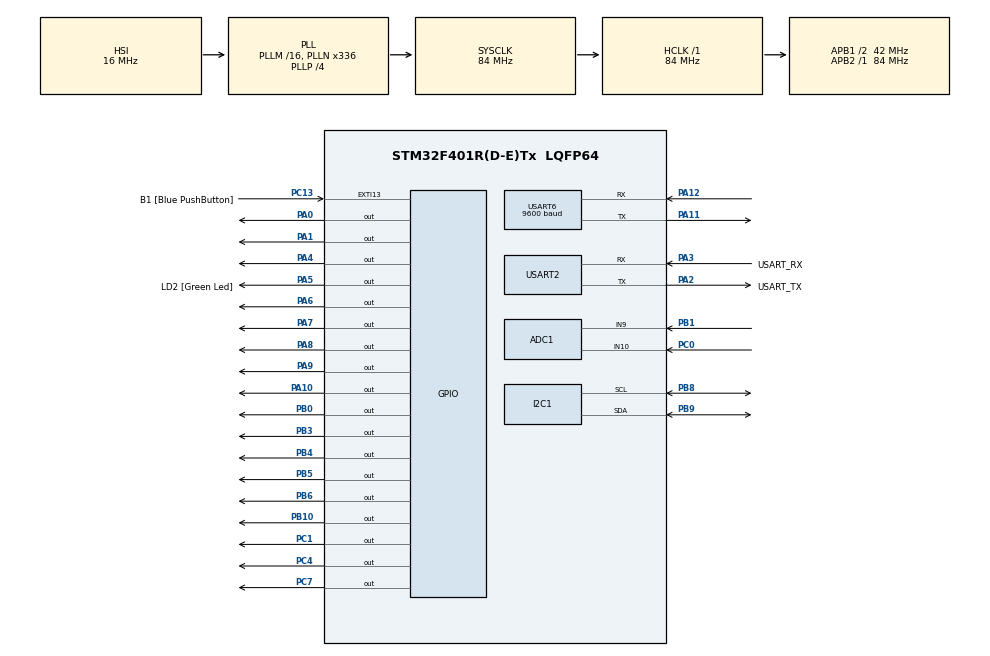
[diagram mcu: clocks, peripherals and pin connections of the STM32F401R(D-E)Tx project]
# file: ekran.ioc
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ADC1.Channel-0\#ChannelRegularConversion=ADC_CHANNEL_9
ADC1.Channel-1\#ChannelRegularConversion=ADC_CHANNEL_10
ADC1.ContinuousConvMode=DISABLE
ADC1.DMAContinuousRequests=ENABLE
ADC1.NbrOfConversion=2
ADC1.NbrOfConversionFlag=1
ADC1.Rank-0\#ChannelRegularConversion=1
ADC1.Rank-1\#ChannelRegularConversion=2
ADC1.SamplingTime-0\#ChannelRegularConversion=ADC_SAMPLETIME_3CYCLES
ADC1.SamplingTime-1\#ChannelRegularConversion=ADC_SAMPLETIME_3CYCLES
ADC1.master=1
Dma.ADC1.0.Direction=DMA_PERIPH_TO_MEMORY
Dma.ADC1.0.FIFOMode=DMA_FIFOMODE_DISABLE
Dma.ADC1.0.Instance=DMA2_Stream0
Dma.ADC1.0.MemDataAlignment=DMA_MDATAALIGN_HALFWORD
Dma.ADC1.0.MemInc=DMA_MINC_ENABLE
Dma.ADC1.0.Mode=DMA_CIRCULAR
Dma.ADC1.0.PeriphDataAlignment=DMA_PDATAALIGN_HALFWORD
Dma.ADC1.0.PeriphInc=DMA_PINC_DISABLE
Dma.ADC1.0.Priority=DMA_PRIORITY_LOW
Dma.Request0=ADC1
Mcu.Family=STM32F4
Mcu.Name=STM32F401R(D-E)Tx
Mcu.Package=LQFP64
NVIC.ADC_IRQn=true\:0\:0\:false\:false\:true\:true\:true\:true
NVIC.DMA2_Stream0_IRQn=true\:0\:0\:false\:false\:true\:false\:true\:true
NVIC.PriorityGroup=NVIC_PRIORITYGROUP_0
PA0-WKUP.Signal=GPIO_Output
PA1.Signal=GPIO_Output
PA10.Signal=GPIO_Output
PA11.Mode=Asynchronous
PA11.Signal=USART6_TX
PA12.Mode=Asynchronous
PA12.Signal=USART6_RX
PA13.GPIO_Label=TMS
PA13.Mode=Serial_Wire
PA13.Signal=SYS_JTMS-SWDIO
PA14.GPIO_Label=TCK
PA14.Mode=Serial_Wire
PA14.Signal=SYS_JTCK-SWCLK
PA2.GPIO_Label=USART_TX
PA2.GPIO_Mode=GPIO_MODE_AF_PP
PA2.GPIO_PuPd=GPIO_NOPULL
PA2.GPIO_Speed=GPIO_SPEED_FREQ_LOW
PA2.Mode=Asynchronous
PA2.Signal=USART2_TX
PA3.GPIO_Label=USART_RX
PA3.GPIO_Mode=GPIO_MODE_AF_PP
PA3.GPIO_PuPd=GPIO_NOPULL
PA3.GPIO_Speed=GPIO_SPEED_FREQ_LOW
PA3.Mode=Asynchronous
PA3.Signal=USART2_RX
PA4.Signal=GPIO_Output
PA5.GPIO_Label=LD2 [Green Led]
PA5.GPIO_Mode=GPIO_MODE_OUTPUT_PP
PA5.GPIO_PuPd=GPIO_NOPULL
PA5.GPIO_Speed=GPIO_SPEED_FREQ_LOW
PA5.Signal=GPIO_Output
PA6.Signal=GPIO_Output
PA7.Signal=GPIO_Output
PA8.Signal=GPIO_Output
PA9.Signal=GPIO_Output
PB0.Signal=GPIO_Output
PB1.Signal=ADCx_IN9
PB10.Signal=GPIO_Output
PB3.Signal=GPIO_Output
PB4.Signal=GPIO_Output
PB5.Signal=GPIO_Output
PB6.Signal=GPIO_Output
PB8.Mode=I2C
PB8.Signal=I2C1_SCL
PB9.Mode=I2C
PB9.Signal=I2C1_SDA
PC0.Signal=ADCx_IN10
PC1.Signal=GPIO_Output
PC13-ANTI_TAMP.GPIO_Label=B1 [Blue PushButton]
PC13-ANTI_TAMP.GPIO_ModeDefaultEXTI=GPIO_MODE_IT_FALLING
PC13-ANTI_TAMP.GPIO_PuPd=GPIO_NOPULL
PC13-ANTI_TAMP.Signal=GPXTI13
PC14-OSC32_IN.Mode=LSE-External-Oscillator
PC14-OSC32_IN.Signal=RCC_OSC32_IN
PC15-OSC32_OUT.Mode=LSE-External-Oscillator
PC15-OSC32_OUT.Signal=RCC_OSC32_OUT
PC4.Signal=GPIO_Output
PC7.Signal=GPIO_Output
PH0\ -\ OSC_IN.Mode=HSE-External-Clock-Source
PH0\ -\ OSC_IN.Signal=RCC_OSC_IN
PH1\ -\ OSC_OUT.Mode=HSE-External-Clock-Source
PH1\ -\ OSC_OUT.Signal=RCC_OSC_OUT
ProjectManager.HeapSize=0x200
ProjectManager.StackSize=0x400
ProjectManager.TargetToolchain=STM32CubeIDE
RCC.48MHZClocksFreq_Value=48000000
RCC.AHBFreq_Value=84000000
RCC.APB1CLKDivider=RCC_HCLK_DIV2
RCC.APB1Freq_Value=42000000
RCC.APB1TimFreq_Value=84000000
RCC.APB2Freq_Value=84000000
RCC.APB2TimFreq_Value=84000000
RCC.CortexFreq_Value=84000000
RCC.HCLKFreq_Value=84000000
RCC.HSE_VALUE=8000000
RCC.HSI_VALUE=16000000
RCC.PLLN=336
RCC.PLLP=RCC_PLLP_DIV4
RCC.PLLQ=7
RCC.SYSCLKFreq_VALUE=84000000
RCC.SYSCLKSource=RCC_SYSCLKSOURCE_PLLCLK
RCC.VCOOutputFreq_Value=336000000
SH.ADCx_IN10.0=ADC1_IN10,IN10
SH.ADCx_IN9.0=ADC1_IN9,IN9
USART2.VirtualMode=VM_ASYNC
USART6.BaudRate=9600
USART6.VirtualMode=VM_ASYNC
board=NUCLEO-F401RE

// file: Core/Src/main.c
/* USER CODE BEGIN Header */
/**
 ******************************************************************************
 * @file           : main.c
 * @brief          : Main program body
 ******************************************************************************
 * @attention
 *
 * Copyright (c) 2024 STMicroelectronics.
 * All rights reserved.
 *
 * This software is licensed under terms that can be found in the LICENSE file
 * in the root directory of this software component.
 * If no LICENSE file comes with this software, it is provided AS-IS.
 *
 ******************************************************************************
 */
/* USER CODE END Header */
#include "main.h"

/* USER CODE BEGIN Includes */
#include "stm32_adafruit_lcd.h"
#include "structPackets.h"
#include <stdlib.h>
#include "stdio.h"
#include <math.h>
#include "bme280/bme280.h"
/* USER CODE END Includes */

/* USER CODE BEGIN PD */
#define PI 3.14159265
#define CENTER_X 200
#define CENTER_Y 150
#define LENGTH 80
uint16_t oldx, oldy;
/* USER CODE END PD */

ADC_HandleTypeDef hadc1;
DMA_HandleTypeDef hdma_adc1;

I2C_HandleTypeDef hi2c1;

UART_HandleTypeDef huart2;
UART_HandleTypeDef huart6;

void SystemClock_Config(void);
static void MX_GPIO_Init(void);
static void MX_DMA_Init(void);
static void MX_USART2_UART_Init(void);
static void MX_ADC1_Init(void);
static void MX_I2C1_Init(void);
static void MX_USART6_UART_Init(void);
/* USER CODE BEGIN PFP */
float mapValuef(float x, float in_min, float in_max, float out_min,
                float out_max);

uint8_t lcdText[30];
uint16_t adcBuffer[2];
uint8_t readbuffer[10] = {0};
uint8_t *CurrentPacketPointer;
accelPKT accelarationPacket;
movementPKT movement;
/* USER CODE END PFP */

int main(void)
{

  /* MCU Configuration--------------------------------------------------------*/

  /* Reset of all peripherals, Initializes the Flash interface and the Systick. */
  HAL_Init();

  /* Configure the system clock */
  SystemClock_Config();

  /* Initialize all configured peripherals */
  MX_GPIO_Init();
  MX_DMA_Init();
  MX_USART2_UART_Init();
  MX_ADC1_Init();
  MX_I2C1_Init();
  MX_USART6_UART_Init();
  /* USER CODE BEGIN 2 */
  HAL_ADC_Start_DMA(&hadc1, (uint32_t *)adcBuffer, 2);
  BSP_LCD_Init();

  BSP_LCD_Clear(LCD_COLOR_BLACK);

  // BSP_LCD_SetTextColor(LCD_COLOR_BLUE);
  // BSP_LCD_FillRect(0, 0, 100, 100);
  // BSP_LCD_SetTextColor(LCD_COLOR_MAGENTA);
  // BSP_LCD_FillRect(20, 20, 100, 100);
  BSP_LCD_SetTextColor(LCD_COLOR_RED);
  BSP_LCD_SetBackColor(LCD_COLOR(63, 190, 152));
  BSP_LCD_SetFont(&Font20);
  // BSP_LCD_DisplayStringAtLine(0, (uint8_t*) "Hello World");
  // BSP_LCD_DisplayStringAtLine(1, (uint8_t*) "Hello World");

  double bx = 0.0;
  double by = 0.0;
  oldx = CENTER_X;
  oldy = CENTER_Y;
  /* USER CODE END 2 */

  /* Infinite loop */
  /* USER CODE BEGIN WHILE */
  while (1)
  {
	  HAL_GPIO_TogglePin(GPIOC, 4);
    HAL_ADC_Start_DMA(&hadc1, (uint32_t *)adcBuffer, 2);
    BSP_LCD_SetTextColor(LCD_COLOR(63, 190, 152));
    BSP_LCD_SetBackColor(LCD_COLOR(63, 190, 152));
    BSP_LCD_FillRect(126, 0, 80, 58);
    BSP_LCD_SetTextColor(LCD_COLOR_RED);
    sprintf(lcdText, "ACCELX: %d", accelarationPacket.data.accelx);
    BSP_LCD_DisplayStringAt(0, 0, lcdText, LEFT_MODE);
    sprintf(lcdText, "ACCELY: %d", accelarationPacket.data.accely);
    BSP_LCD_DisplayStringAt(0, 20, lcdText, LEFT_MODE);
    sprintf(lcdText, "ACCELZ: %d", accelarationPacket.data.accelz);
    BSP_LCD_DisplayStringAt(0, 40, lcdText, LEFT_MODE);
    BSP_LCD_SetTextColor(LCD_COLOR_BLACK);
    BSP_LCD_FillCircle(oldx, oldy, (int)(LENGTH / 5));
    int posx = (int)(mapValuef(adcBuffer[0], 4096, 0, 0, 1) * LENGTH) + CENTER_X;
    int posy = (int)(mapValuef(adcBuffer[1], 0, 4096, 0, 1) * LENGTH) + CENTER_Y;
    BSP_LCD_FillRect(CENTER_X, CENTER_Y, LENGTH, LENGTH);
    BSP_LCD_SetTextColor(LCD_COLOR_YELLOW);
    BSP_LCD_DrawRect(CENTER_X - 1, CENTER_Y - 1, LENGTH + 2, LENGTH + 2);
    BSP_LCD_DrawVLine(CENTER_X + (int)(LENGTH / 2), CENTER_Y, LENGTH);
    BSP_LCD_DrawHLine(CENTER_X, CENTER_Y + (int)(LENGTH / 2), LENGTH);
    BSP_LCD_SetTextColor(LCD_COLOR_RED);
    BSP_LCD_FillCircle(posx, posy, (int)(LENGTH / 5));
    oldx = posx;
    oldy = posy;
    bx += 10;
    by += 10;

    char direction = 0;
    uint8_t speed = 0;
    uint8_t rotation = 0;
    bool buzzer = 0;

    if (adcBuffer[1] > 3000)
    {
      direction = 2;
      speed = mapValuef(adcBuffer[0], 4096, 3000, 100, 10);
    }
    if (adcBuffer[1] < 1000)
    {
      direction = 1;
      speed = mapValuef(adcBuffer[0], 3000, 4096, 100, 10);
    }
    if (adcBuffer[0] > 3000)
    {
      rotation = 1;
    }
    if (adcBuffer[0] < 1000)
    {
      rotation = 2;
    }

    CurrentPacketPointer = CreateMovementPacketToByteArray(direction,
                                                           speed, rotation, buzzer);
    // SendPacket(CurrentPacketPointer);
    HAL_UART_Transmit(&huart6, CurrentPacketPointer + 2,
                      movementPktDefault.paket.paketLen, 100);
    // CurrentPacketPointer = CreateRequestToByteArray(AccelPacketNum);

    // SendPacket(CurrentPacketPointer);
    HAL_UART_Receive(&huart6, readbuffer, accelPktDefault.paket.paketLen,
                     250);

    GetAccellerationPacket(&accelarationPacket, readbuffer);

    HAL_Delay(0);
    // BSP_LCD_FillCircle(CENTER_X, CENTER_Y, 31);

    /* USER CODE END WHILE */

  }
}

void SystemClock_Config(void)
{
  RCC_OscInitTypeDef RCC_OscInitStruct = {0};
  RCC_ClkInitTypeDef RCC_ClkInitStruct = {0};

  /** Configure the main internal regulator output voltage
  */
  __HAL_RCC_PWR_CLK_ENABLE();
  __HAL_PWR_VOLTAGESCALING_CONFIG(PWR_REGULATOR_VOLTAGE_SCALE2);

  /** Initializes the RCC Oscillators according to the specified parameters
  * in the RCC_OscInitTypeDef structure.
  */
  RCC_OscInitStruct.OscillatorType = RCC_OSCILLATORTYPE_HSI;
  RCC_OscInitStruct.HSIState = RCC_HSI_ON;
  RCC_OscInitStruct.HSICalibrationValue = RCC_HSICALIBRATION_DEFAULT;
  RCC_OscInitStruct.PLL.PLLState = RCC_PLL_ON;
  RCC_OscInitStruct.PLL.PLLSource = RCC_PLLSOURCE_HSI;
  RCC_OscInitStruct.PLL.PLLM = 16;
  RCC_OscInitStruct.PLL.PLLN = 336;
  RCC_OscInitStruct.PLL.PLLP = RCC_PLLP_DIV4;
  RCC_OscInitStruct.PLL.PLLQ = 7;
  if (HAL_RCC_OscConfig(&RCC_OscInitStruct) != HAL_OK)
  {
    Error_Handler();
  }

  /** Initializes the CPU, AHB and APB buses clocks
  */
  RCC_ClkInitStruct.ClockType = RCC_CLOCKTYPE_HCLK|RCC_CLOCKTYPE_SYSCLK
                              |RCC_CLOCKTYPE_PCLK1|RCC_CLOCKTYPE_PCLK2;
  RCC_ClkInitStruct.SYSCLKSource = RCC_SYSCLKSOURCE_PLLCLK;
  RCC_ClkInitStruct.AHBCLKDivider = RCC_SYSCLK_DIV1;
  RCC_ClkInitStruct.APB1CLKDivider = RCC_HCLK_DIV2;
  RCC_ClkInitStruct.APB2CLKDivider = RCC_HCLK_DIV1;

  if (HAL_RCC_ClockConfig(&RCC_ClkInitStruct, FLASH_LATENCY_2) != HAL_OK)
  {
    Error_Handler();
  }
}

static void MX_ADC1_Init(void)
{

  ADC_ChannelConfTypeDef sConfig = {0};

  /** Configure the global features of the ADC (Clock, Resolution, Data Alignment and number of conversion)
  */
  hadc1.Instance = ADC1;
  hadc1.Init.ClockPrescaler = ADC_CLOCK_SYNC_PCLK_DIV4;
  hadc1.Init.Resolution = ADC_RESOLUTION_12B;
  hadc1.Init.ScanConvMode = ENABLE;
  hadc1.Init.ContinuousConvMode = DISABLE;
  hadc1.Init.DiscontinuousConvMode = DISABLE;
  hadc1.Init.ExternalTrigConvEdge = ADC_EXTERNALTRIGCONVEDGE_NONE;
  hadc1.Init.ExternalTrigConv = ADC_SOFTWARE_START;
  hadc1.Init.DataAlign = ADC_DATAALIGN_RIGHT;
  hadc1.Init.NbrOfConversion = 2;
  hadc1.Init.DMAContinuousRequests = ENABLE;
  hadc1.Init.EOCSelection = ADC_EOC_SINGLE_CONV;
  if (HAL_ADC_Init(&hadc1) != HAL_OK)
  {
    Error_Handler();
  }

  /** Configure for the selected ADC regular channel its corresponding rank in the sequencer and its sample time.
  */
  sConfig.Channel = ADC_CHANNEL_9;
  sConfig.Rank = 1;
  sConfig.SamplingTime = ADC_SAMPLETIME_3CYCLES;
  if (HAL_ADC_ConfigChannel(&hadc1, &sConfig) != HAL_OK)
  {
    Error_Handler();
  }

  /** Configure for the selected ADC regular channel its corresponding rank in the sequencer and its sample time.
  */
  sConfig.Channel = ADC_CHANNEL_10;
  sConfig.Rank = 2;
  if (HAL_ADC_ConfigChannel(&hadc1, &sConfig) != HAL_OK)
  {
    Error_Handler();
  }

}

static void MX_I2C1_Init(void)
{

  hi2c1.Instance = I2C1;
  hi2c1.Init.ClockSpeed = 100000;
  hi2c1.Init.DutyCycle = I2C_DUTYCYCLE_2;
  hi2c1.Init.OwnAddress1 = 0;
  hi2c1.Init.AddressingMode = I2C_ADDRESSINGMODE_7BIT;
  hi2c1.Init.DualAddressMode = I2C_DUALADDRESS_DISABLE;
  hi2c1.Init.OwnAddress2 = 0;
  hi2c1.Init.GeneralCallMode = I2C_GENERALCALL_DISABLE;
  hi2c1.Init.NoStretchMode = I2C_NOSTRETCH_DISABLE;
  if (HAL_I2C_Init(&hi2c1) != HAL_OK)
  {
    Error_Handler();
  }

}

static void MX_USART2_UART_Init(void)
{

  huart2.Instance = USART2;
  huart2.Init.BaudRate = 115200;
  huart2.Init.WordLength = UART_WORDLENGTH_8B;
  huart2.Init.StopBits = UART_STOPBITS_1;
  huart2.Init.Parity = UART_PARITY_NONE;
  huart2.Init.Mode = UART_MODE_TX_RX;
  huart2.Init.HwFlowCtl = UART_HWCONTROL_NONE;
  huart2.Init.OverSampling = UART_OVERSAMPLING_16;
  if (HAL_UART_Init(&huart2) != HAL_OK)
  {
    Error_Handler();
  }

}

static void MX_USART6_UART_Init(void)
{

  huart6.Instance = USART6;
  huart6.Init.BaudRate = 9600;
  huart6.Init.WordLength = UART_WORDLENGTH_8B;
  huart6.Init.StopBits = UART_STOPBITS_1;
  huart6.Init.Parity = UART_PARITY_NONE;
  huart6.Init.Mode = UART_MODE_TX_RX;
  huart6.Init.HwFlowCtl = UART_HWCONTROL_NONE;
  huart6.Init.OverSampling = UART_OVERSAMPLING_16;
  if (HAL_UART_Init(&huart6) != HAL_OK)
  {
    Error_Handler();
  }

}

static void MX_DMA_Init(void)
{

  /* DMA controller clock enable */
  __HAL_RCC_DMA2_CLK_ENABLE();

  /* DMA interrupt init */
  /* DMA2_Stream0_IRQn interrupt configuration */
  HAL_NVIC_SetPriority(DMA2_Stream0_IRQn, 0, 0);
  HAL_NVIC_EnableIRQ(DMA2_Stream0_IRQn);

}

static void MX_GPIO_Init(void)
{
  GPIO_InitTypeDef GPIO_InitStruct = {0};

  /* GPIO Ports Clock Enable */
  __HAL_RCC_GPIOC_CLK_ENABLE();
  __HAL_RCC_GPIOH_CLK_ENABLE();
  __HAL_RCC_GPIOA_CLK_ENABLE();
  __HAL_RCC_GPIOB_CLK_ENABLE();

  /*Configure GPIO pin Output Level */
  HAL_GPIO_WritePin(GPIOC, GPIO_PIN_1|GPIO_PIN_4|GPIO_PIN_7, GPIO_PIN_RESET);

  /*Configure GPIO pin Output Level */
  HAL_GPIO_WritePin(GPIOA, GPIO_PIN_0|GPIO_PIN_1|GPIO_PIN_4|LD2_Pin
                          |GPIO_PIN_6|GPIO_PIN_7|GPIO_PIN_8|GPIO_PIN_9
                          |GPIO_PIN_10, GPIO_PIN_RESET);

  /*Configure GPIO pin Output Level */
  HAL_GPIO_WritePin(GPIOB, GPIO_PIN_0|GPIO_PIN_10|GPIO_PIN_3|GPIO_PIN_4
                          |GPIO_PIN_5|GPIO_PIN_6, GPIO_PIN_RESET);

  /*Configure GPIO pin : B1_Pin */
  GPIO_InitStruct.Pin = B1_Pin;
  GPIO_InitStruct.Mode = GPIO_MODE_IT_FALLING;
  GPIO_InitStruct.Pull = GPIO_NOPULL;
  HAL_GPIO_Init(B1_GPIO_Port, &GPIO_InitStruct);

  /*Configure GPIO pins : PC1 PC4 PC7 */
  GPIO_InitStruct.Pin = GPIO_PIN_1|GPIO_PIN_4|GPIO_PIN_7;
  GPIO_InitStruct.Mode = GPIO_MODE_OUTPUT_PP;
  GPIO_InitStruct.Pull = GPIO_NOPULL;
  GPIO_InitStruct.Speed = GPIO_SPEED_FREQ_LOW;
  HAL_GPIO_Init(GPIOC, &GPIO_InitStruct);

  /*Configure GPIO pins : PA0 PA1 PA4 LD2_Pin
                           PA6 PA7 PA8 PA9
                           PA10 */
  GPIO_InitStruct.Pin = GPIO_PIN_0|GPIO_PIN_1|GPIO_PIN_4|LD2_Pin
                          |GPIO_PIN_6|GPIO_PIN_7|GPIO_PIN_8|GPIO_PIN_9
                          |GPIO_PIN_10;
  GPIO_InitStruct.Mode = GPIO_MODE_OUTPUT_PP;
  GPIO_InitStruct.Pull = GPIO_NOPULL;
  GPIO_InitStruct.Speed = GPIO_SPEED_FREQ_LOW;
  HAL_GPIO_Init(GPIOA, &GPIO_InitStruct);

  /*Configure GPIO pins : PB0 PB10 PB3 PB4
                           PB5 PB6 */
  GPIO_InitStruct.Pin = GPIO_PIN_0|GPIO_PIN_10|GPIO_PIN_3|GPIO_PIN_4
                          |GPIO_PIN_5|GPIO_PIN_6;
  GPIO_InitStruct.Mode = GPIO_MODE_OUTPUT_PP;
  GPIO_InitStruct.Pull = GPIO_NOPULL;
  GPIO_InitStruct.Speed = GPIO_SPEED_FREQ_LOW;
  HAL_GPIO_Init(GPIOB, &GPIO_InitStruct);

}

/* USER CODE BEGIN 4 */
float mapValuef(float x, float in_min, float in_max, float out_min,
                float out_max)
{
  float res = (x - in_min) * (out_max - out_min) / (in_max - in_min) + out_min;

  if (res < out_min)
  {
    res = out_min;
  }
  else if (res > out_max)
  {
    res = out_max;
  }
  return res;
}
void HAL_ADC_ConvCpltCallback(ADC_HandleTypeDef *hadc)
{
  // adc_val = buffer;
}
/* USER CODE END 4 */

void Error_Handler(void)
{
  __disable_irq();
  while (1)
  {
  }
}
